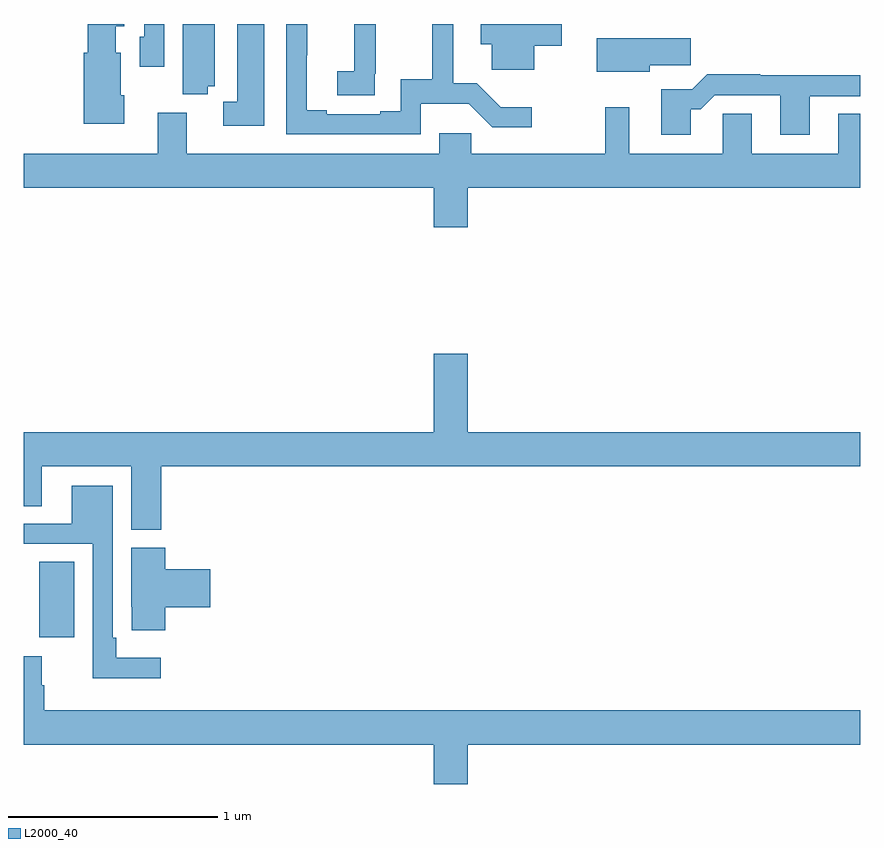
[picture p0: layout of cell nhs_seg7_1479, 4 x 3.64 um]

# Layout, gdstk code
import gdstk
lib = gdstk.Library(unit=1e-6, precision=1e-09)
def R(c, l, rs):  # rectangles x0, y0, x1, y1
    for r in rs: c.add(gdstk.rectangle(r[:2], r[2:], *l))
def P(c, l, *ps):  # polygons
    for p in ps: c.add(gdstk.Polygon(p, *l))
L2000_40 = (2000, 40)

nhs_seg7_1479 = lib.new_cell('nhs_seg7_1479')
R(nhs_seg7_1479, L2000_40, [(211.073,1065.066,211.24,1065.428)])
P(nhs_seg7_1479, L2000_40, [(211.88,1067.702),(211.912,1067.702),(211.912,1068),(211.76,1068),(211.76,1067.665),(211.88,1067.665)],
  [(211.48,1067.658),(211.464,1067.658),(211.464,1067.862),(211.438,1067.862),(211.438,1067.99),(211.48,1067.99),(211.48,1068),(211.304,1068),(211.304,1067.862),(211.286,1067.862),(211.286,1067.522),(211.48,1067.522)],
  [(213.442,1067.896),(213.574,1067.896),(213.574,1068),(213.185,1068),(213.185,1067.903),(213.239,1067.903),(213.239,1067.78),(213.442,1067.78)],
  [(212.149,1068),(212.021,1068),(212.021,1067.628),(211.953,1067.628),(211.953,1067.513),(212.149,1067.513)],
  [(212.898,1067.618),(213.127,1067.618),(213.24,1067.505),(213.43,1067.505),(213.43,1067.602),(213.281,1067.602),(213.166,1067.717),(213.055,1067.717),(213.055,1068),(212.953,1068),(212.953,1067.735),(212.802,1067.735),(212.802,1067.582),(212.705,1067.582),(212.705,1067.568),(212.449,1067.568),(212.449,1067.588),(212.353,1067.588),(212.353,1067.851),(212.355,1067.851),(212.355,1068),(212.256,1068),(212.256,1067.472),(212.898,1067.472)],
  [(211.671,1068),(211.575,1068),(211.575,1067.94),(211.554,1067.94),(211.554,1067.796),(211.671,1067.796)],
  [(212.678,1067.761),(212.684,1067.761),(212.684,1068),(212.581,1068),(212.581,1067.774),(212.499,1067.774),(212.499,1067.659),(212.678,1067.659)],
  [(213.994,1067.803),(214.189,1067.803),(214.189,1067.932),(213.74,1067.932),(213.74,1067.771),(213.994,1067.771)],
  [(214.189,1067.591),(214.238,1067.591),(214.305,1067.658),(214.619,1067.658),(214.619,1067.469),(214.759,1067.469),(214.759,1067.655),(215,1067.655),(215,1067.756),(214.523,1067.756),(214.523,1067.759),(214.268,1067.759),(214.198,1067.689),(214.049,1067.689),(214.049,1067.469),(214.189,1067.469)],
  [(213.124,1067.216),(215,1067.216),(215,1067.57),(214.895,1067.57),(214.895,1067.38),(214.483,1067.38),(214.483,1067.57),(214.344,1067.57),(214.344,1067.38),(213.895,1067.38),(213.895,1067.602),(213.781,1067.602),(213.781,1067.38),(213.139,1067.38),(213.139,1067.478),(212.987,1067.478),(212.987,1067.38),(211.78,1067.38),(211.78,1067.575),(211.64,1067.575),(211.64,1067.38),(211,1067.38),(211,1067.216),(212.96,1067.216),(212.96,1067.028),(213.124,1067.028)],
  [(211.658,1065.884),(215,1065.884),(215,1066.048),(213.124,1066.048),(213.124,1066.423),(212.96,1066.423),(212.96,1066.048),(211,1066.048),(211,1065.694),(211.084,1065.694),(211.084,1065.884),(211.514,1065.884),(211.514,1065.58),(211.658,1065.58)],
  [(211.654,1064.968),(211.441,1064.968),(211.441,1065.064),(211.425,1065.064),(211.425,1065.79),(211.229,1065.79),(211.229,1065.609),(211,1065.609),(211,1065.513),(211.329,1065.513),(211.329,1064.87),(211.654,1064.87)],
  [(211.676,1065.209),(211.891,1065.209),(211.891,1065.392),(211.676,1065.392),(211.676,1065.495),(211.514,1065.495),(211.514,1065.211),(211.515,1065.211),(211.515,1065.099),(211.676,1065.099)],
  [(213.124,1064.552),(215,1064.552),(215,1064.716),(211.097,1064.716),(211.097,1064.837),(211.084,1064.837),(211.084,1064.974),(211,1064.974),(211,1064.552),(212.96,1064.552),(212.96,1064.364),(213.124,1064.364)])

lib.write_gds('nhs_seg7_1479.gds')
